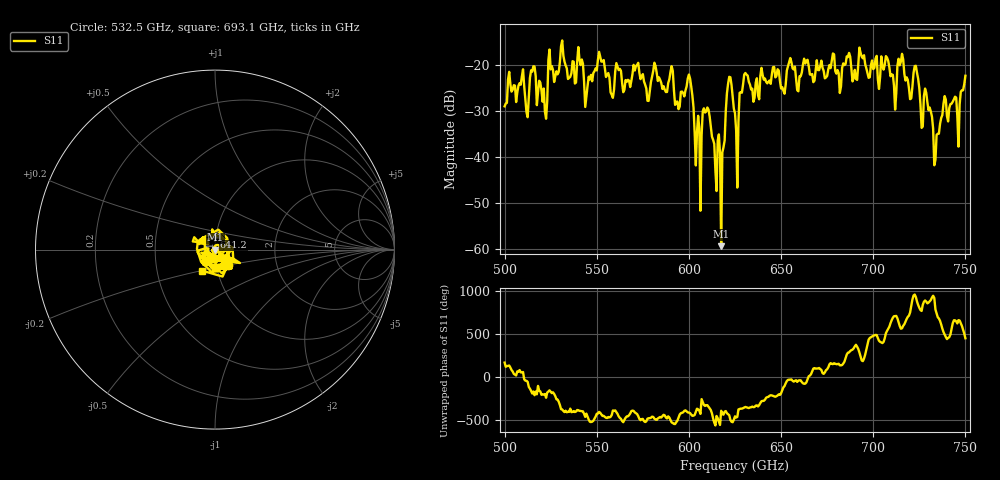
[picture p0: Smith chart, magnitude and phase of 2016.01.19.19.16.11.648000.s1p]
!Created with skrf (http://scikit-rf.org).
# GHz S RI R 50.0
!freq ReS11 ImS11
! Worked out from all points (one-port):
!   401 points, 500 GHz to 750 GHz, reference 50 ohm
!   lowest |S11| = -59.3 dB at 617.5 GHz (marker M1), VSWR 1.00, Z = 50.1 - j0.0623 ohm
!   |S11| at or under -10 dB: start of sweep to end of sweep
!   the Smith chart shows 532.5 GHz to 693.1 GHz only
!   S11 on the Smith chart (normalised r, x): 532.5 GHz: 1.13, -0.19; 641.2 GHz: 0.98, +0.14; 693.1 GHz: 0.85, -0.20
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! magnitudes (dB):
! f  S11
! 500 GHz  -28.9
! 511.9 GHz  -30.2
! 515.6 GHz  -20.2
! 521.9 GHz  -30.1
! 525 GHz  -20.9
! 531.2 GHz  -14.6
! 532.5 GHz  -19.2
! 544.4 GHz  -26.7
! 551.9 GHz  -18.1
! 558.1 GHz  -26.4
! 562.5 GHz  -20.8
! 590 GHz  -21.4
! 593.8 GHz  -27.9
! 600 GHz  -22.0
! 605 GHz  -31.0
! 609.4 GHz  -30.0
! 617.5 GHz  -59.3
! 621.9 GHz  -22.5
! 625 GHz  -30.4
! 630.6 GHz  -21.7
! 641.2 GHz  -22.9
! 656.2 GHz  -20.7
! 687.5 GHz  -18.1
! 693.1 GHz  -17.2
! 718.8 GHz  -23.2
! 723.1 GHz  -20.1
! 734.4 GHz  -35.1
! 750 GHz  -22.3
